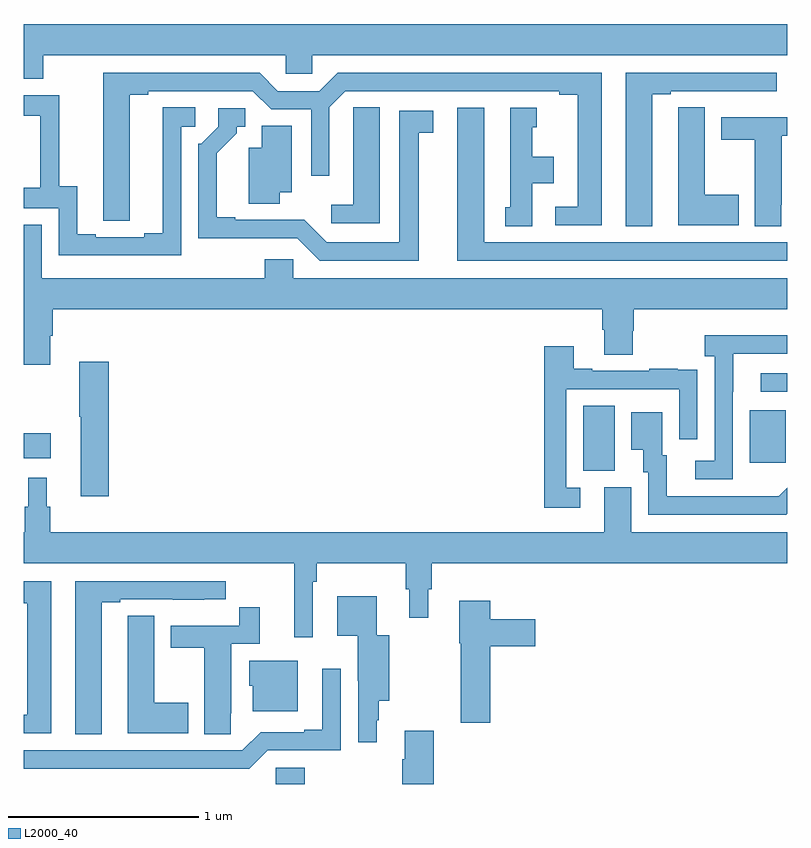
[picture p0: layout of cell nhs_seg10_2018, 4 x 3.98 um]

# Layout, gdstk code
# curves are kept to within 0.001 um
import gdstk
lib = gdstk.Library(unit=1e-6, precision=1e-09)
def R(c, l, rs):  # rectangles x0, y0, x1, y1
    for r in rs: c.add(gdstk.rectangle(r[:2], r[2:], *l))
def P(c, l, *ps):  # polygons
    for p in ps: c.add(gdstk.Polygon(p, *l))
L2000_40 = (2000, 40)

nhs_seg10_2018 = lib.new_cell('nhs_seg10_2018')
R(nhs_seg10_2018, L2000_40, [(218.319,1292.5,218.471,1292.586), (219.932,1294.141,220.096,1294.484), (220.805,1294.185,220.993,1294.459), (217,1294.208,217.141,1294.338), (220.863,1294.557,221,1294.653)])
P(nhs_seg10_2018, L2000_40, [(217.101,1296.32),(218.373,1296.32),(218.373,1296.222),(218.511,1296.222),(218.511,1296.32),(221,1296.32),(221,1296.484),(217,1296.484),(217,1296.196),(217.101,1296.196)],
  [(220.03,1296.228),(218.645,1296.228),(218.549,1296.132),(218.331,1296.132),(218.235,1296.228),(217.415,1296.228),(217.416,1295.452),(217.555,1295.452),(217.555,1296.112),(217.651,1296.112),(217.651,1296.132),(218.199,1296.132),(218.295,1296.036),(218.505,1296.036),(218.505,1295.688),(218.601,1295.688),(218.601,1296.048),(218.685,1296.132),(219.806,1296.132),(219.806,1296.112),(219.902,1296.112),(219.902,1295.526),(219.786,1295.526),(219.786,1295.43),(220.03,1295.43)],
  [(220.294,1296.117),(220.39,1296.117),(220.39,1296.132),(220.666,1296.132),(220.666,1296.131),(220.832,1296.131),(220.832,1296.132),(220.945,1296.132),(220.945,1296.228),(220.154,1296.228),(220.154,1295.425),(220.294,1295.425)],
  [(217.824,1295.946),(217.897,1295.946),(217.897,1296.047),(217.727,1296.047),(217.727,1295.387),(217.631,1295.387),(217.631,1295.367),(217.375,1295.367),(217.375,1295.382),(217.279,1295.382),(217.279,1295.633),(217.185,1295.633),(217.185,1296.111),(217,1296.111),(217,1296.003),(217.085,1296.003),(217.085,1295.626),(217,1295.626),(217,1295.517),(217.182,1295.517),(217.182,1295.271),(217.824,1295.271)],
  [(218.866,1296.047),(218.727,1296.047),(218.727,1295.939),(218.726,1295.939),(218.726,1295.536),(218.61,1295.536),(218.61,1295.439),(218.866,1295.439)],
  [(220.747,1295.589),(220.57,1295.589),(220.57,1296.047),(220.431,1296.047),(220.431,1295.939),(220.43,1295.939),(220.43,1295.429),(220.747,1295.429)],
  [(221,1295.34),(219.412,1295.34),(219.412,1296.046),(219.272,1296.046),(219.272,1295.244),(221,1295.244)],
  [(219.664,1295.648),(219.778,1295.648),(219.778,1295.788),(219.664,1295.788),(219.664,1295.943),(219.688,1295.943),(219.688,1296.046),(219.548,1296.046),(219.548,1295.523),(219.524,1295.523),(219.524,1295.425),(219.664,1295.425)],
  [(219.07,1295.914),(219.145,1295.914),(219.145,1296.03),(218.966,1296.03),(218.966,1295.34),(218.586,1295.34),(218.468,1295.458),(218.107,1295.457),(218.107,1295.47),(218.011,1295.47),(218.011,1295.806),(218.116,1295.911),(218.116,1295.946),(218.161,1295.946),(218.161,1296.042),(218.019,1296.042),(218.019,1295.946),(217.929,1295.856),(217.914,1295.856),(217.914,1295.36),(218.433,1295.361),(218.55,1295.244),(219.07,1295.244)],
  [(220.971,1295.536),(220.972,1295.536),(220.972,1295.898),(221,1295.898),(221,1295.994),(220.655,1295.994),(220.655,1295.878),(220.832,1295.878),(220.832,1295.425),(220.971,1295.425)],
  [(218.341,1295.603),(218.404,1295.603),(218.404,1295.951),(218.246,1295.951),(218.246,1295.836),(218.177,1295.836),(218.177,1295.542),(218.341,1295.542)],
  [(217,1295.432),(217,1294.698),(217.138,1294.698),(217.138,1294.851),(217.151,1294.851),(217.151,1294.988),(220.031,1294.988),(220.031,1294.882),(220.043,1294.882),(220.043,1294.75),(220.191,1294.75),(220.191,1294.875),(220.196,1294.875),(220.196,1294.988),(221,1294.988),(221,1295.152),(218.412,1295.152),(218.412,1295.25),(218.261,1295.25),(218.261,1295.152),(217.093,1295.152),(217.093,1295.432)],
  [(220.716,1294.555),(220.717,1294.555),(220.717,1294.755),(221,1294.755),(221,1294.852),(220.569,1294.852),(220.569,1294.742),(220.62,1294.742),(220.62,1294.194),(220.518,1294.194),(220.518,1294.098),(220.716,1294.098)],
  [(219.916,1294.053),(219.843,1294.053),(219.843,1294.569),(220.434,1294.569),(220.434,1294.308),(220.53,1294.308),(220.53,1294.562),(220.529,1294.562),(220.529,1294.671),(220.427,1294.671),(220.427,1294.678),(220.279,1294.678),(220.279,1294.665),(219.979,1294.665),(219.979,1294.678),(219.883,1294.678),(219.883,1294.795),(219.727,1294.795),(219.727,1293.948),(219.916,1293.948)],
  [(217.445,1294.714),(217.291,1294.714),(217.291,1294.426),(217.298,1294.426),(217.298,1294.008),(217.445,1294.008)],
  [(221,1293.916),(221,1294.052),(220.957,1294.009),(220.369,1294.008),(220.369,1294.224),(220.345,1294.224),(220.345,1294.45),(220.184,1294.45),(220.184,1294.253),(220.247,1294.253),(220.247,1294.134),(220.272,1294.134),(220.272,1293.912),(220.996,1293.912)],
  [(218.514,1293.56),(218.534,1293.56),(218.534,1293.656),(219.001,1293.656),(219.001,1293.522),(219.02,1293.522),(219.02,1293.372),(219.118,1293.372),(219.118,1293.522),(219.137,1293.522),(219.137,1293.656),(221,1293.656),(221,1293.82),(220.183,1293.82),(220.183,1294.056),(220.043,1294.056),(220.043,1293.82),(217.139,1293.82),(217.139,1293.954),(217.12,1293.954),(217.12,1294.105),(217.022,1294.105),(217.022,1293.954),(217.003,1293.954),(217.003,1293.82),(217,1293.82),(217,1293.656),(218.417,1293.656),(218.417,1293.27),(218.514,1293.27)],
  [(217.144,1293.564),(217,1293.564),(217,1293.448),(217.016,1293.448),(217.016,1292.862),(217,1292.862),(217,1292.766),(217.144,1292.766)],
  [(217.408,1293.453),(217.504,1293.453),(217.504,1293.468),(217.78,1293.468),(217.78,1293.467),(217.946,1293.467),(217.946,1293.468),(218.059,1293.468),(218.059,1293.564),(217.268,1293.564),(217.268,1292.761),(217.408,1292.761)],
  [(218.848,1292.835),(218.86,1292.835),(218.86,1292.936),(218.916,1292.936),(218.916,1293.28),(218.848,1293.28),(218.848,1293.484),(218.642,1293.484),(218.642,1293.278),(218.75,1293.278),(218.75,1293.04),(218.751,1293.04),(218.751,1292.718),(218.848,1292.718)],
  [(219.443,1293.221),(219.679,1293.221),(219.679,1293.363),(219.443,1293.363),(219.443,1293.46),(219.283,1293.46),(219.283,1293.237),(219.289,1293.237),(219.289,1292.82),(219.443,1292.82)],
  [(218.085,1292.872),(218.086,1292.872),(218.086,1293.234),(218.237,1293.234),(218.237,1293.427),(218.128,1293.427),(218.128,1293.33),(217.769,1293.33),(217.769,1293.214),(217.946,1293.214),(217.946,1292.761),(218.085,1292.761)],
  [(217.861,1292.925),(217.684,1292.925),(217.684,1293.383),(217.545,1293.383),(217.545,1293.275),(217.544,1293.275),(217.544,1292.765),(217.861,1292.765)],
  [(218.434,1293.145),(218.18,1293.145),(218.18,1293.015),(218.198,1293.015),(218.198,1292.882),(218.434,1292.882)],
  [(218.277,1292.676),(218.661,1292.676),(218.661,1293.103),(218.564,1293.103),(218.564,1292.785),(218.468,1292.785),(218.468,1292.772),(218.241,1292.772),(218.145,1292.676),(217,1292.676),(217,1292.58),(218.181,1292.58)],
  [(219.149,1292.779),(218.996,1292.779),(218.996,1292.63),(218.984,1292.63),(218.984,1292.5),(219.149,1292.5)])

lib.write_gds('nhs_seg10_2018.gds')
